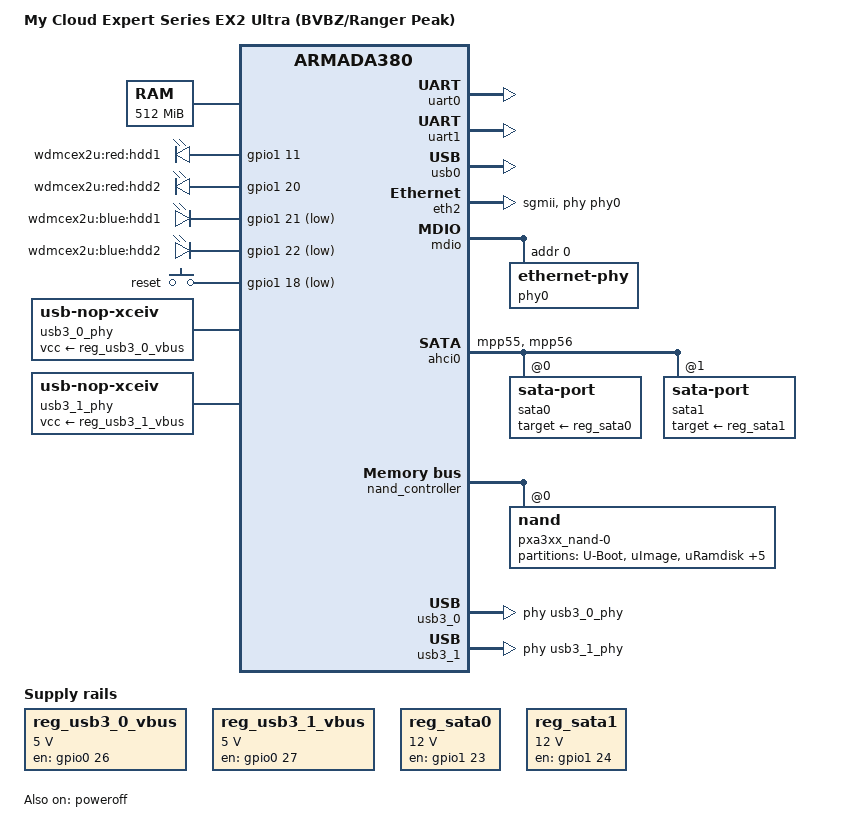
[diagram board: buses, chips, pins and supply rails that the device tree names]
// SPDX-License-Identifier: (GPL-2.0+ OR MIT)
/*
 * Device Tree file for Western Digital My Cloud Expert Series EX2 Ultra
 * (BVBZ/Ranger Peak)
 *
 * Copyright (C) 2020
 *
 * Based on the code from:
 *
 * Copyright (C) 2019 Evgeny Kolesnikov <evgenyz@gmail.com>
 * Copyright (C) 2016 Martin Mueller <mm@sig21.net>
 * Copyright (C) 2013 Gregory CLEMENT <gregory.clement@free-electrons.com>
 * Copyright (C) 2014 Thomas Petazzoni <thomas.petazzoni@free-electrons.com>
 *
 */

/dts-v1/;
#include <dt-bindings/input/input.h>
#include <dt-bindings/gpio/gpio.h>
#include <dt-bindings/leds/common.h>
#include "armada-385.dtsi"

/ {
	model = "My Cloud Expert Series EX2 Ultra (BVBZ/Ranger Peak)";
	compatible = "wd,mcex2u", "marvell,armada385", "marvell,armada380";

	chosen {
		stdout-path = "console=ttyS0,115200 root=LABEL=rootfs earlyprintk";
	};

	memory {
		device_type = "memory";
		reg = <0x00000000 0x20000000>; /* 512 MB */
	};

	soc {
		ranges = <MBUS_ID(0xf0, 0x01) 0 0xf1000000 0x100000
			  MBUS_ID(0x01, 0x1d) 0 0xfff00000 0x100000
			  MBUS_ID(0x09, 0x19) 0 0xf1100000 0x10000        /* CESA0: PHYS=0xf1100000 size 64K */
			  MBUS_ID(0x09, 0x15) 0 0xf1110000 0x10000        /* CESA1: PHYS=0xf1110000 */
			  MBUS_ID(0x0c, 0x04) 0 0xf1200000 0x100000       /*    BM: PHYS=0xf1200000 size 1M */
			  MBUS_ID(0x0b, 0x04) 0 0xf1300000 0x100000>;     /*   PNC: PHYS=0xf1300000 size 1M */

		internal-regs {
			timer@c200 {
				status = "okay";
			};

			i2c@11000 {
				status = "disabled";
			};

			i2c@11100 {
				status = "disabled";
			};

			uart0: serial@12000 {
				status = "okay";
			};

			/* Connected to Welltrend 6703F-OG240WT MCU
			 * which controls power, fan and other things
			 */
			uart1: serial@12100 {
				status = "okay";
			};

			pinctrl: pinctrl@18000 {
				xhci0_vbus_pins: xhci0-vbus-pins {
					marvell,pins = "mpp26";
					marvell,function = "gpio";
				};

				xhci1_vbus_pins: xhci1-vbus-pins {
					marvell,pins = "mpp27";
					marvell,function = "gpio";
				};

				sata0_pins: sata-pins-0 {
					marvell,pins = "mpp55";
					marvell,function = "gpio";
				};

				sata1_pins: sata-pins-1 {
					marvell,pins = "mpp56";
					marvell,function = "gpio";
				};

				sata_leds: sata-leds {
					marvell,pins = "mpp43", "mpp52", "mpp53", "mpp54", "mpp48", "mpp58";
					marvell,function = "gpio";
				};

				btn_pins: btn-pins {
					marvell,pins = "mpp50";
					marvell,function = "gpio";
				};
			};

			usb0: usb@58000 {
				status = "okay";
			};

			eth2: ethernet@34000 {
				status = "okay";
				phy = <&phy0>;
				phy-mode = "sgmii";
				buffer-manager = <&bm>;
				bm,pool-long = <0>;
				bm,pool-short = <1>;
			};

			mdio: mdio@72004 {
				phy0: ethernet-phy@0 {
					/* Init ETH LEDs */
					marvell,reg-init = <3 16 0 0x101e>;
					reg = <0>;
				};
			};

			cesa: crypto@90000 {
				status = "okay";
			};

			rtc: rtc@a3800 {
				status = "okay";
			};

			ahci0: sata@a8000 {
				pinctrl-names = "default";
				pinctrl-0 = <&sata0_pins>, <&sata1_pins>;
				status = "okay";
				#address-cells = <1>;
				#size-cells = <0>;

				sata0: sata-port@0 {
					reg = <0>;
					target-supply = <&reg_sata0>;
				};

				sata1: sata-port@1 {
					reg = <1>;
					target-supply = <&reg_sata1>;
				};

			};

			bm: bm@c8000 {
				status = "okay";
			};

			nand_controller: nand-controller@d0000 {
				status = "okay";

				nand: nand@0 {
					reg = <0>;
					label = "pxa3xx_nand-0";
					nand-rb = <0>;
					marvell,nand-keep-config;
					#marvell,nand-enable-arbiter; //optional
					nand-on-flash-bbt;
					nand-ecc-strength = <4>;
					nand-ecc-step-size = <512>;

					partitions {
						compatible = "fixed-partitions";
						#address-cells = <1>;
						#size-cells = <1>;

						partition@0 {
							label = "U-Boot";
							reg = <0x00000000 0x00500000>;    /*   5 MB */
							read-only;
						};

						partition@500000 {
							label = "uImage";
							reg = <0x00500000 0x00500000>;    /*   5 MB */
						};

						partition@a00000 {
							label = "uRamdisk";
							reg = <0x00a00000 0x00500000>;    /*   5 MB */
						};
							
						partition@f00000 {
							label = "image.cfs";
							reg = <0x00f00000 0x0b900000>;    /* 185 MB */
						};

						partition@c800000 {
							label = "rescue fw";
							reg = <0x0c800000 0x00f00000>;    /*  15 MB */
						};
							
						partition@d70000 {
							label = "config";
							reg = <0x0d700000 0x01400000>;    /*  20 MB */
						};
							
						partition@eb00000 {
							label = "reserve1";
							reg = <0x0eb00000 0x00a00000>;    /*  10 MB */
						};
							
						partition@f500000 {
							label = "reserve2";
							reg = <0x0f500000 0x00a00000>;    /*  10 MB */
						};
					};
				};
			};

			usb3_0: usb3@f0000 {
				usb-phy = <&usb3_0_phy>;
				status = "okay";
			};

			usb3_1: usb3@f8000 {
				usb-phy = <&usb3_1_phy>;
				status = "okay";
			};
		};

		bm_bppi: bm-bppi {
			status = "okay";
		};
	};

	gpio-leds {
		compatible = "gpio-leds";
		pinctrl-names = "default";
		pinctrl-0 = <&sata_leds>;

		sata1-red-led {
			label = "wdmcex2u:red:hdd1";
			gpios = <&gpio1 11 GPIO_ACTIVE_HIGH>;
			default-state = "keep";
			panic-indicator;
		};
		sata2-red-led {
			label = "wdmcex2u:red:hdd2";
			gpios = <&gpio1 20 GPIO_ACTIVE_HIGH>;
			default-state = "keep";
			panic-indicator;
		};
		/*
		 * Active-low, unlike the red LEDs above -- confirmed on real
		 * hardware: writing brightness=1 (logical "on") turned these
		 * off. The vendor's own wd-leds init script drives all four
		 * red+blue lines to the same raw value at once (0 for "show
		 * blue", 1 for "show red"), which only produces a clean
		 * single-colour result if the two channels have opposite
		 * polarity -- matches the red LEDs being genuinely
		 * active-high (unchanged) and these being active-low.
		 */
		sata1-blue-led {
			label = "wdmcex2u:blue:hdd1";
			gpios = <&gpio1 21 GPIO_ACTIVE_LOW>;
			default-state = "keep";
		};
		sata2-blue-led {
			label = "wdmcex2u:blue:hdd2";
			gpios = <&gpio1 22 GPIO_ACTIVE_LOW>;
			default-state = "keep";
		};
	};

	gpio-keys {
		compatible = "gpio-keys";
		pinctrl-names = "default";
		pinctrl-0 = <&btn_pins>;
		#address-cells = <1>;
		#size-cells = <0>;

		reset {
			/*
			 * KEY_RESTART is treated as a genuine reboot request by
			 * systemd-logind -- confirmed on real hardware, a single
			 * press rebooted the board with nothing of ours asking
			 * it to (same root cause hit and fixed the same way on
			 * the MCG1 port, commit f203b6d). KEY_PROG1 is inert to
			 * any such policy while still being a normal,
			 * distinguishable evdev keycode; a real hold-to-reset
			 * policy can remap this once one exists.
			 */
			label = "reset";
			linux,code = <KEY_PROG1>;
			gpios = <&gpio1 18 GPIO_ACTIVE_LOW>;
			debounce-interval = <60>;
			wakeup-source;
		};
	};

	/*
	 * Cosmetic power-off -- see drivers/power/reset/wdmc-ex2u-poweroff.c
	 * for the full story on why this isn't a real power cut. reg[0]/
	 * reg[1] are gpio0's and gpio1's own DATA_OUT registers (a second,
	 * non-exclusive mapping of the exact same physical registers
	 * gpio-mvebu.c already owns -- the LED and VBUS lines below are
	 * already exclusively claimed by leds-gpio/regulator-fixed, so a
	 * second gpiod_get would just fail).
	 *
	 * gpio0 bits 26/27: usb3-vbus0/usb3-vbus1, active-high (see
	 * reg_usb3_0_vbus/reg_usb3_1_vbus below) -- cleared to turn off,
	 * confirmed on real hardware via a resulting USB disconnect event.
	 *
	 * gpio1: the four SATA bay LEDs (see gpio-leds above). Bits 11/20
	 * (red) are active-high -- cleared to turn off. Bits 21/22 (blue)
	 * are active-low -- confirmed on real hardware the other way
	 * around from the red ones, so they need *setting* to turn off,
	 * not clearing (see the blue LED nodes' own comment above).
	 *
	 * The two reg_sata0/reg_sata1 12V drive-power lines are
	 * deliberately left alone -- cutting drive power is a real
	 * action, not a cosmetic one.
	 */
	poweroff: poweroff@f1018100 {
		compatible = "wd,ex2u-poweroff";
		reg = <0xf1018100 0x40>, <0xf1018140 0x40>;
		reg-names = "gpio0", "gpio1";
		wd,gpio0-clear-bits = <26 27>;
		wd,gpio1-clear-bits = <11 20>;
		wd,gpio1-set-bits = <21 22>;
		status = "okay";
	};

	usb3_0_phy: usb3_0_phy {
		compatible = "usb-nop-xceiv";
		vcc-supply = <&reg_usb3_0_vbus>;
	};

	usb3_1_phy: usb3_1_phy {
		compatible = "usb-nop-xceiv";
		vcc-supply = <&reg_usb3_1_vbus>;
	};

	reg_usb3_0_vbus: usb3-vbus0 {
		compatible = "regulator-fixed";
		regulator-name = "usb3-vbus0";
		pinctrl-names = "default";
		pinctrl-0 = <&xhci0_vbus_pins>;
		regulator-min-microvolt = <5000000>;
		regulator-max-microvolt = <5000000>;
		enable-active-high;
		regulator-always-on;
		gpio = <&gpio0 26 GPIO_ACTIVE_HIGH>;
	};

	reg_usb3_1_vbus: usb3-vbus1 {
		compatible = "regulator-fixed";
		regulator-name = "usb3-vbus1";
		pinctrl-names = "default";
		pinctrl-0 = <&xhci1_vbus_pins>;
		regulator-min-microvolt = <5000000>;
		regulator-max-microvolt = <5000000>;
		enable-active-high;
		regulator-always-on;
		gpio = <&gpio0 27 GPIO_ACTIVE_HIGH>;
	};

	reg_sata0: pwr-sata0 {
		compatible = "regulator-fixed";
		regulator-name = "pwr_en_sata0";
		regulator-min-microvolt = <12000000>;
		regulator-max-microvolt = <12000000>;
		enable-active-high;
		regulator-boot-on;
		gpio = <&gpio1 23 GPIO_ACTIVE_HIGH>;
	};
	
	reg_sata1: pwr-sata1 {
		compatible = "regulator-fixed";
		regulator-name = "pwr_en_sata1";
		regulator-min-microvolt = <12000000>;
		regulator-max-microvolt = <12000000>;
		enable-active-high;
		regulator-boot-on;
		gpio = <&gpio1 24 GPIO_ACTIVE_HIGH>;
	};
};
